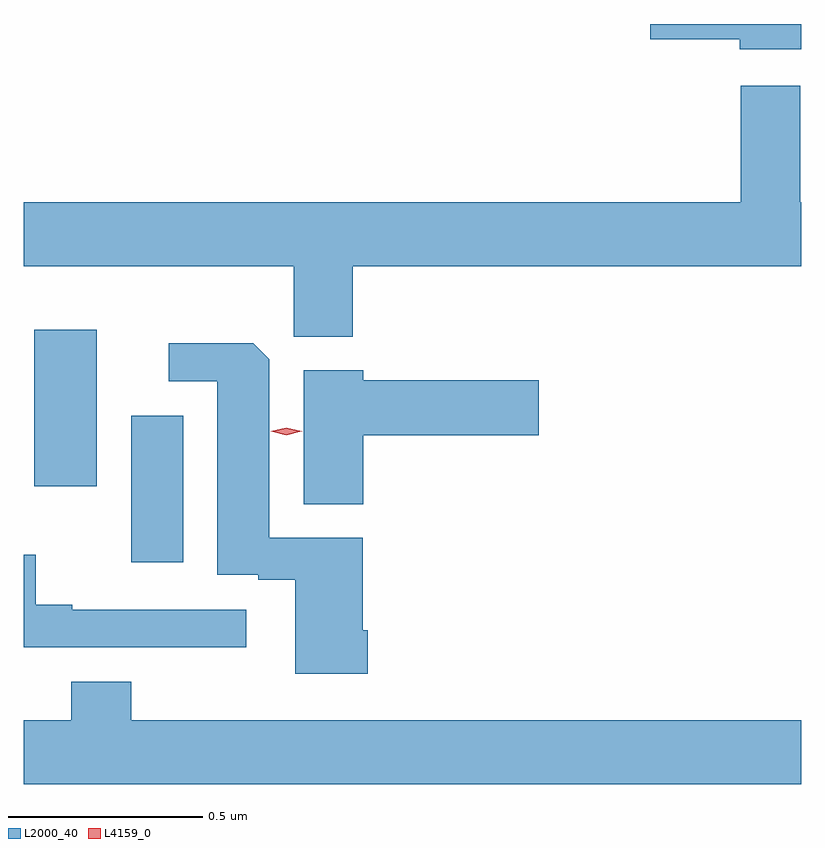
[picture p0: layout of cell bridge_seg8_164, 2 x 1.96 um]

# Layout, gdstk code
import gdstk
lib = gdstk.Library(unit=1e-6, precision=1e-09)
def R(c, l, rs):  # rectangles x0, y0, x1, y1
    for r in rs: c.add(gdstk.rectangle(r[:2], r[2:], *l))
def P(c, l, *ps):  # polygons
    for p in ps: c.add(gdstk.Polygon(p, *l))
L2000_40 = (2000, 40)
L4159_0 = (4159, 0)

bridge_seg8_164 = lib.new_cell('bridge_seg8_164')
R(bridge_seg8_164, L2000_40, [(566.726,1109.079,566.86,1109.455), (566.477,1109.274,566.638,1109.677)])
P(bridge_seg8_164, L2000_40, [(568.45,1110.463),(568.062,1110.463),(568.062,1110.424),(568.292,1110.424),(568.292,1110.398),(568.45,1110.398)],
  [(567.296,1109.84),(568.45,1109.84),(568.45,1110.004),(568.447,1110.004),(568.447,1110.304),(568.295,1110.304),(568.295,1110.004),(566.45,1110.004),(566.45,1109.84),(567.145,1109.84),(567.145,1109.658),(567.296,1109.658)],
  [(567.335,1108.903),(567.322,1108.903),(567.322,1109.142),(567.082,1109.142),(567.082,1109.6),(567.04,1109.642),(566.823,1109.642),(566.823,1109.544),(566.948,1109.544),(566.948,1109.046),(567.053,1109.046),(567.053,1109.034),(567.149,1109.034),(567.149,1108.791),(567.335,1108.791)],
  [(567.323,1109.405),(567.775,1109.405),(567.775,1109.547),(567.323,1109.547),(567.323,1109.572),(567.17,1109.572),(567.17,1109.227),(567.323,1109.227)],
  [(567.022,1108.956),(566.575,1108.956),(566.575,1108.969),(566.481,1108.969),(566.481,1109.098),(566.45,1109.098),(566.45,1108.86),(567.022,1108.86)],
  [(568.45,1108.672),(566.727,1108.672),(566.727,1108.771),(566.572,1108.771),(566.572,1108.672),(566.45,1108.672),(566.45,1108.508),(568.45,1108.508)])
P(bridge_seg8_164, L4159_0, [(567.125,1109.405),(567.085,1109.415),(567.084,1109.415),(567.085,1109.416),(567.125,1109.425),(567.165,1109.415),(567.166,1109.415),(567.165,1109.415)])

lib.write_gds('bridge_seg8_164.gds')
